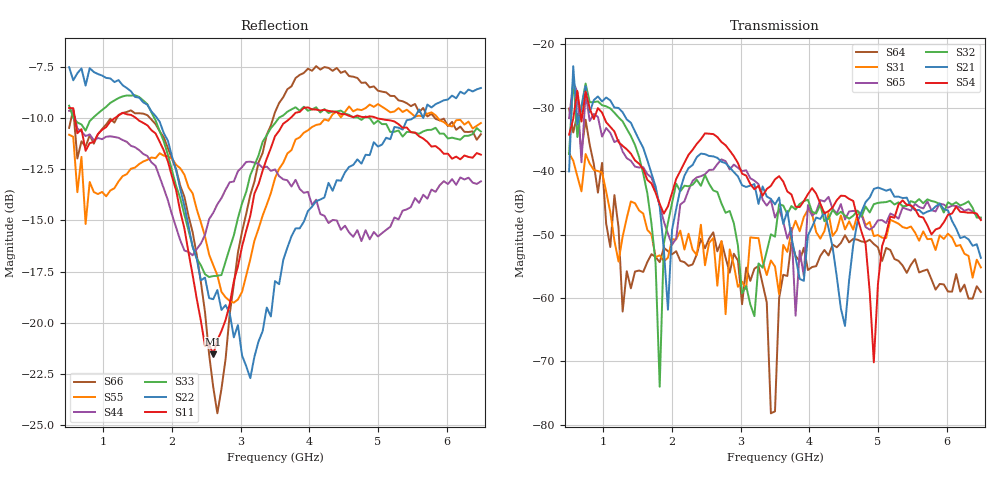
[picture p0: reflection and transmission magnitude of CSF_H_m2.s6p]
!Keysight Technologies,M9804A,MY58100912,A.14.10.03
!Date: Thursday, April 27, 2023 10:28:33
!Correction: S11(C  6-Port  )
!S12(C  6-Port  )
!S13(C  6-Port  )
!S14(C  6-Port  )
!S15(C  6-Port  )
!S16(C  6-Port  )
!S21(C  6-Port  )
!S22(C  6-Port  )
!S23(C  6-Port  )
!S24(C  6-Port  )
!S25(C  6-Port  )
!S26(C  6-Port  )
!S31(C  6-Port  )
!S32(C  6-Port  )
!S33(C  6-Port  )
!S34(C  6-Port  )
!S35(C  6-Port  )
!S36(C  6-Port  )
!S41(C  6-Port  )
!S42(C  6-Port  )
!S43(C  6-Port  )
!S44(C  6-Port  )
!S45(C  6-Port  )
!S46(C  6-Port  )
!S51(C  6-Port  )
!S52(C  6-Port  )
!S53(C  6-Port  )
!S54(C  6-Port  )
!S55(C  6-Port  )
!S56(C  6-Port  )
!S61(C  6-Port  )
!S62(C  6-Port  )
!S63(C  6-Port  )
!S64(C  6-Port  )
!S65(C  6-Port  )
!S66(C  6-Port  )
!S6P File: Measurement: :
# Hz S  RI  R 50
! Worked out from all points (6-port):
!   101 points, 500 MHz to 6.5 GHz, reference 50 ohm
!   strongest paths, dB at 500 MHz, 2 GHz, 3.5 GHz, 5 GHz, 6.5 GHz:
!     S54: -34.2, -43.4, -41.3, -57.8, -47.7
!     S21: -40.0, -49.2, -45.3, -42.6, -53.7
!     S32: -37.3, -45.0, -50.3, -45.0, -47.3
!     S65: -31.6, -51.6, -47.3, -47.8, -47.6
!     S31: -37.2, -50.8, -55.0, -50.1, -55.2
!     S64: -30.1, -53.1, -77.9, -52.0, -59.1
!   lowest |S11| = -21.5 dB at 2.6 GHz (marker M1), VSWR 1.18, Z = 42.5 + j1.94 ohm
!   |S11| at or under -10 dB: 584.2 MHz to 1.162 GHz (577.4 MHz wide, 66.1 % of centre); 1.478 GHz to 3.721 GHz (2.243 GHz wide, 86.3 % of centre); 4.988 GHz to end of sweep
